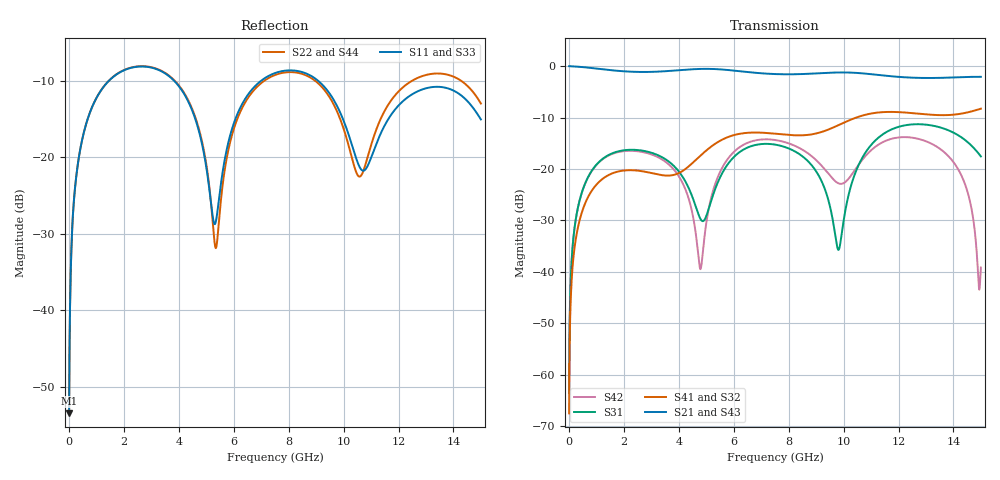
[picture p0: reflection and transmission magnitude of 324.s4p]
! Created with skrf 1.8.0 (http://scikit-rf.org).
# GHz S RI R 50.0
!freq ReS11 ImS11 ReS12 ImS12 ReS13 ImS13
! ReS14 ImS14
! ReS21 ImS21 ReS22 ImS22 ReS23 ImS23
! ReS24 ImS24
! ReS31 ImS31 ReS32 ImS32 ReS33 ImS33
! ReS34 ImS34
! ReS41 ImS41 ReS42 ImS42 ReS43 ImS43
! ReS44 ImS44
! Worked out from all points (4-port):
!   2499 points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, 5 MHz to 15 GHz, reference 50 ohm
!   strongest paths, dB at 5 MHz, 3.476 GHz, 7.19 GHz, 11.1 GHz, 15 GHz:
!     S21: 0.0, -1.0, -1.5, -1.6, -2.1
!     S43: 0.0, -1.0, -1.5, -1.6, -2.1
!     S41: -67.5, -21.3, -13.0, -9.1, -8.3
!     S32: -67.5, -21.3, -13.0, -9.1, -8.3
!     S31: -63.6, -18.0, -15.1, -14.8, -17.6
!     S42: -63.6, -18.5, -14.2, -15.9, -39.2
!   lowest |S11| = -53.5 dB at 5 MHz (marker M1), VSWR 1.00, Z = 50.2 + j0.129 ohm
!   |S11| at or under -10 dB: start of sweep to 1.443 GHz; 3.839 GHz to 6.982 GHz (3.142 GHz wide, 58.1 % of centre); 9.086 GHz to end of sweep
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0.005  0.00169 0.00128  0.9983 -0.00328  8.45e-05 0.000657  -8.2e-05 -0.000414
       0.9983 -0.00328  0.00169 0.00128  -8.2e-05 -0.000414  8.43e-05 0.000657
       8.45e-05 0.000657  -8.2e-05 -0.000414  0.00169 0.00128  0.9983 -0.00328
       -8.2e-05 -0.000414  8.43e-05 0.000657  0.9983 -0.00328  0.00169 0.00128
0.3626511  0.0316 0.0959  0.9563 -0.2345  0.0151 0.0441  -0.0123 -0.0272
           0.9563 -0.2345  0.0317 0.0959  -0.0123 -0.0272  0.0146 0.0442
           0.0151 0.0441  -0.0123 -0.0272  0.0316 0.0959  0.9563 -0.2345
           -0.0123 -0.0272  0.0146 0.0442  0.9563 -0.2345  0.0317 0.0959
1.875782  0.3346 0.1396  0.3854 -0.8077  0.1473 0.0287  -0.0934 0.0204
          0.3854 -0.8077  0.3369 0.1372  -0.0933 0.0203  0.1418 0.0403
          0.1473 0.0287  -0.0933 0.0203  0.3346 0.1396  0.3854 -0.8077
          -0.0934 0.0204  0.1418 0.0403  0.3854 -0.8077  0.3369 0.1372
4.789496  0.0724 -0.1145  -0.8645 -0.3656  -0.0285 -0.0159  -0.0481 0.126
          -0.8645 -0.3656  0.0644 -0.1246  -0.0485 0.1259  0.0104 0.00237
          -0.0285 -0.0159  -0.0485 0.1259  0.0723 -0.115  -0.8645 -0.3656
          -0.0481 0.126  0.0104 0.00237  -0.8645 -0.3656  0.0648 -0.1249
8.209671  0.3692 -0.0319  -0.0141 0.8329  0.1345 -0.0643  0.2044 -0.0585
          -0.0141 0.8329  0.3602 -0.0241  0.2042 -0.0575  0.1365 -0.0992
          0.1345 -0.0643  0.2042 -0.0575  0.3709 -0.0336  -0.0134 0.8322
          0.2044 -0.0585  0.1365 -0.0992  -0.0134 0.8322  0.3618 -0.0231
10.97332  0.0927 0.0276  0.8353 -0.0327  0.0847 0.1445  -0.0345 -0.343
          0.8353 -0.0327  0.0971 0.0632  -0.032 -0.344  -0.00188 0.1495
          0.0847 0.1445  -0.032 -0.344  0.0876 0.0258  0.8353 -0.0335
          -0.0345 -0.343  -0.00188 0.1495  0.8353 -0.0335  0.1026 0.0598
15  0.1658 -0.0634  -0.5133 -0.596  -0.0647 -0.1156  -0.2841 0.2604
    -0.5133 -0.596  0.1722 -0.1453  -0.2857 0.2595  -0.0103 0.00397
    -0.0647 -0.1156  -0.2857 0.2595  0.1725 -0.0656  -0.5137 -0.5935
    -0.2841 0.2604  -0.0103 0.00397  -0.5137 -0.5935  0.1744 -0.1535
